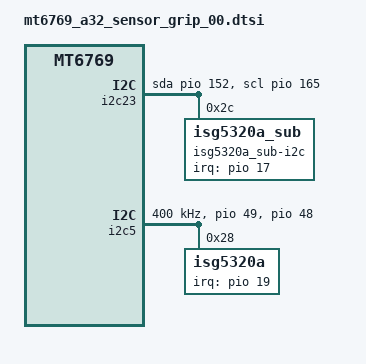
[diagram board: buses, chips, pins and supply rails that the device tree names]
/*
 * SAMSUNG board device tree source
 *
 * Copyright (c) 2020 Samsung Electronics Co., Ltd.
 *		http://www.samsung.com
 *
 * This program is free software; you can redistribute it and/or modify
 * it under the terms of the GNU General Public License version 2 as
 * published by the Free Software Foundation.
 */

/* MAIN GRIP */
&i2c5 {
	gpios = <&pio 49 0 /* sda */
			&pio 48 0>; /* scl */
	status = "okay";
	clock-frequency = <400000>;
	#address-cells = <1>;
	#size-cells = <0>;
	pinctrl-names = "default";
	pinctrl-0 = <&grip_ldo_en>;
	mediatek,use-open-drain;

	isg5320a@28 {
		compatible = "isg5320a";
		status = "okay";
		reg = <0x28>;
		pinctrl-names = "default";
		pinctrl-0 = <&grip_int>;
		interrupt-parent = <&pio>;
		interrupts = <19 0>;
		isg5320a,irq-gpio = <&pio 19 0>;
		isg5320a,hallic_detect = <1>;
		isg5320a,hallic_cert_detect = <1>;
	};
};

/ {
	fragment@model {
		target-path = "/";
		__overlay__ {
			aliases {
				i2c23 = "/i2c@23";
			};

			i2c23: i2c@23 { /* SUB GRIP */
				cell-index = <23>;
				status = "okay";
				compatible = "i2c-gpio";
				gpios = <&pio 152 0 /* sda */
					&pio 165 0>; /* scl */
				i2c-gpio,delay-us = <2>;
				#address-cells = <1>;
				#size-cells = <0>;
				pinctrl-names = "default";
				pinctrl-0 = <&grip_sub_i2c>;
				isg5320a_sub-i2c@2C {
					compatible = "isg5320a_sub";
					status = "okay";
					reg = <0x2C>;
					pinctrl-names = "default";
					pinctrl-0 = <&grip_sub_int>;
					interrupt-parent = <&pio>;
					interrupts = <17 0>;
					isg5320a_sub,irq-gpio = <&pio 17 0>;
					isg5320a_sub,hallic_detect = <1>;
					isg5320a_sub,hallic_cert_detect = <1>;
				};
			};
		};
	};
};

&pio {
	grip_ldo_en: grip-ldo-en {
		pins_cmd_dat {
			pinmux = <PINMUX_GPIO43__FUNC_GPIO43>;
			slew-rate = <1>;
			bias-disable;
			output-high;
		};
	};

	grip_int: grip-int {
		pins_cmd_dat {
			pinmux = <PINMUX_GPIO19__FUNC_GPIO19>;
			slew-rate = <0>;
			bias-disable;
		};
	};

	grip_sub_int: grip-sub-int {
		pins_cmd_dat {
			pinmux = <PINMUX_GPIO17__FUNC_GPIO17>;
			slew-rate = <0>;
			bias-disable;
		};
	};

	grip_sub_i2c: grip-sub-i2c {
		pins_cmd0_dat {
			pinmux = <PINMUX_GPIO152__FUNC_GPIO152>; /*grip sensor sda pin*/
			slew-rate = <0>;
			bias-disable;
		};
		pins_cmd1_dat {
			pinmux = <PINMUX_GPIO165__FUNC_GPIO165>; /*grip sensor scl pin*/
			slew-rate = <0>;
			bias-disable;
		};
	};
};
